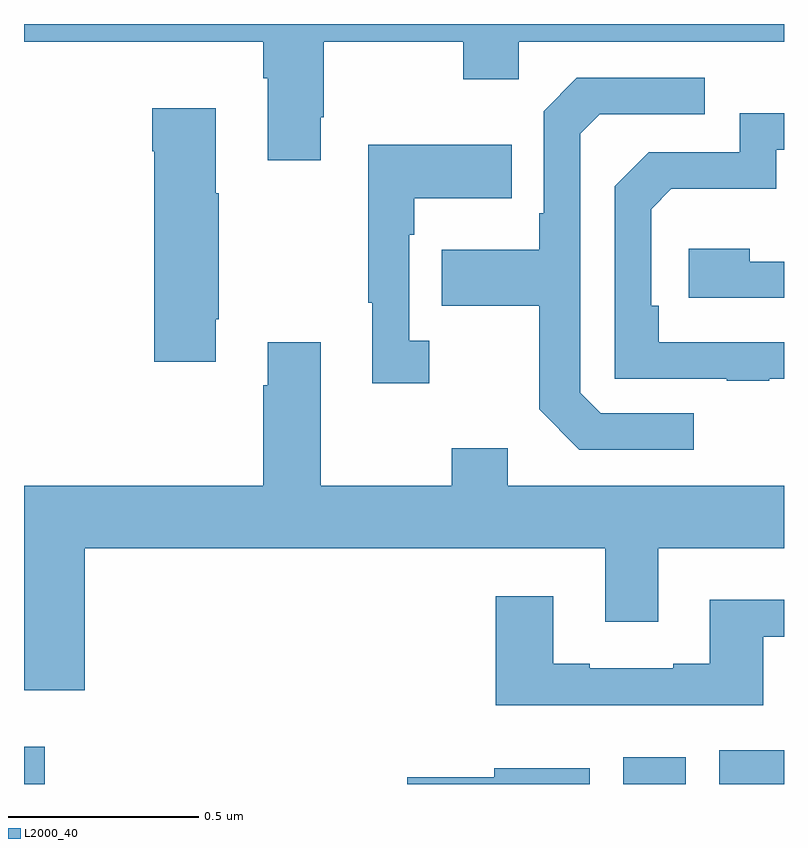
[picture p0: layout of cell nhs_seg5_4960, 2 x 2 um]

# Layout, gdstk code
import gdstk
lib = gdstk.Library(unit=1e-6, precision=1e-09)
def R(c, l, rs):  # rectangles x0, y0, x1, y1
    for r in rs: c.add(gdstk.rectangle(r[:2], r[2:], *l))
def P(c, l, *ps):  # polygons
    for p in ps: c.add(gdstk.Polygon(p, *l))
L2000_40 = (2000, 40)

nhs_seg5_4960 = lib.new_cell('nhs_seg5_4960')
R(nhs_seg5_4960, L2000_40, [(177,862.799,177.055,862.897), (178.577,862.799,178.741,862.87), (178.829,862.799,179,862.888)])
P(nhs_seg5_4960, L2000_40, [(177.781,864.553),(177.789,864.553),(177.789,864.752),(178.156,864.752),(178.156,864.653),(178.302,864.653),(178.302,864.752),(179,864.752),(179,864.799),(177,864.799),(177,864.752),(177.629,864.752),(177.629,864.656),(177.641,864.656),(177.641,864.441),(177.781,864.441)],
  [(178.762,863.775),(178.518,863.775),(178.464,863.829),(178.464,864.51),(178.515,864.561),(178.792,864.561),(178.792,864.657),(178.455,864.657),(178.368,864.57),(178.368,864.301),(178.356,864.301),(178.356,864.205),(178.099,864.205),(178.099,864.058),(178.356,864.058),(178.356,863.785),(178.461,863.679),(178.762,863.679)],
  [(177.505,864.022),(177.513,864.022),(177.513,864.353),(177.505,864.353),(177.505,864.577),(177.338,864.577),(177.338,864.464),(177.343,864.464),(177.343,863.91),(177.505,863.91)],
  [(178.961,863.865),(179,863.865),(179,863.961),(178.67,863.961),(178.67,864.058),(178.65,864.058),(178.65,864.312),(178.703,864.365),(178.98,864.365),(178.98,864.468),(179,864.468),(179,864.564),(178.884,864.564),(178.884,864.462),(178.644,864.462),(178.554,864.372),(178.554,863.865),(178.849,863.865),(178.849,863.86),(178.961,863.86)],
  [(178.066,863.966),(178.014,863.966),(178.014,864.245),(178.027,864.245),(178.027,864.341),(178.283,864.341),(178.283,864.481),(177.906,864.481),(177.906,864.065),(177.917,864.065),(177.917,863.853),(178.066,863.853)],
  [(179,864.174),(178.91,864.174),(178.91,864.208),(178.749,864.208),(178.749,864.078),(179,864.078)],
  [(177.16,863.42),(178.529,863.42),(178.529,863.226),(178.669,863.226),(178.669,863.42),(179,863.42),(179,863.584),(178.273,863.584),(178.273,863.683),(178.126,863.683),(178.126,863.584),(177.781,863.584),(177.781,863.962),(177.641,863.962),(177.641,863.849),(177.629,863.849),(177.629,863.584),(177,863.584),(177,863.046),(177.16,863.046)],
  [(178.945,863.187),(179,863.187),(179,863.284),(178.805,863.284),(178.805,863.116),(178.709,863.116),(178.709,863.103),(178.489,863.103),(178.489,863.116),(178.393,863.116),(178.393,863.293),(178.241,863.293),(178.241,863.006),(178.945,863.006)],
  [(178.489,862.84),(178.238,862.84),(178.238,862.817),(178.008,862.817),(178.008,862.799),(178.489,862.799)])

lib.write_gds('nhs_seg5_4960.gds')
